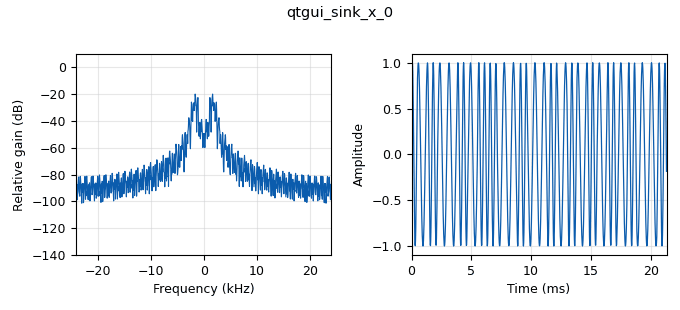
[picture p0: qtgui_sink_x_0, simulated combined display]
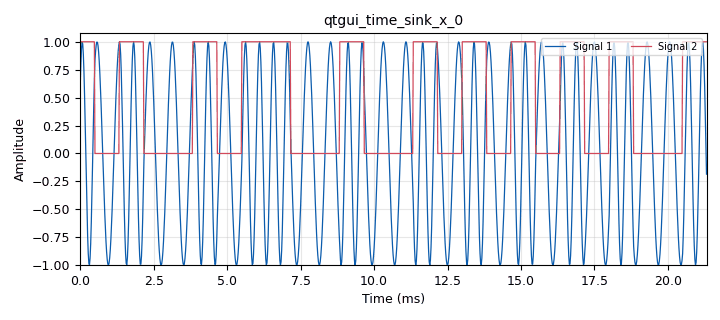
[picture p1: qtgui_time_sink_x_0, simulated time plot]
options:
  parameters:
    author: boat
    generate_options: qt_gui
    generator_class_name: PythonQtGuiGenerator
    generator_module: gnuradio.grc.workflows.python_qt_gui
    id: dsc
    output_language: python
    title: Not titled yet
  states: {}

blocks:
- name: samp_rate
  id: variable
  parameters:
    value: '48000'
  states: {}
- name: analog_const_source_x_0
  id: analog_const_source_x
  parameters:
    const: '1'
    type: float
  states: {state: disabled}
- name: analog_const_source_x_0_0
  id: analog_const_source_x
  parameters:
    const: '0'
    type: float
  states: {state: disabled}
- name: analog_random_source_x_0
  id: analog_random_source_x
  parameters:
    max: '2'
    min: '0'
    num_samps: '1000'
    repeat: 'True'
    type: byte
  states: {}
- name: analog_sig_source_x_0
  id: analog_sig_source_x
  parameters:
    amp: '1'
    freq: '1_200'
    offset: '0'
    phase: '0'
    samp_rate: samp_rate
    type: byte
    waveform: analog.GR_SQR_WAVE
  states: {}
- name: analog_sig_source_x_1
  id: analog_sig_source_x
  parameters:
    amp: '1'
    freq: '1_200'
    offset: '0'
    phase: '3.141592654'
    samp_rate: samp_rate
    type: byte
    waveform: analog.GR_SQR_WAVE
  states: {}
- name: blocks_add_const_vxx_0
  id: blocks_add_const_vxx
  parameters:
    const: '0.7647059'
    type: float
  states: {}
- name: blocks_char_to_float_0
  id: blocks_char_to_float
  parameters:
    scale: '1'
  states: {}
- name: blocks_multiply_const_vxx_0
  id: blocks_multiply_const_vxx
  parameters:
    const: '0.4705882'
    type: float
  states: {}
- name: blocks_sample_and_hold_xx_0
  id: blocks_sample_and_hold_xx
  parameters:
    type: float
  states: {}
- name: blocks_sample_and_hold_xx_1
  id: blocks_sample_and_hold_xx
  parameters:
    type: float
  states: {}
- name: blocks_throttle2_0
  id: blocks_throttle2
  parameters:
    samples_per_second: samp_rate
    type: float
  states: {}
- name: blocks_vco_f_0
  id: blocks_vco_f
  parameters:
    amplitude: '1'
    samp_rate: samp_rate
    sensitivity: '10_681.4'
  states: {}
- name: note_0
  id: note
  parameters:
    note: Fmark=2100 Hz
  states: {}
- name: note_1
  id: note
  parameters:
    note: ' Fc=1700 Hz'
  states: {}
- name: note_2
  id: note
  parameters:
    note: Fspace=1300 Hz
  states: {}
- name: qtgui_sink_x_0
  id: qtgui_sink_x
  parameters:
    bw: samp_rate
    fc: '0'
    fftsize: '1024'
    type: float
  states: {}
- name: qtgui_time_sink_x_0
  id: qtgui_time_sink_x
  parameters:
    nconnections: '2'
    size: '1024'
    srate: samp_rate
    type: float
  states: {}

connections:
- [analog_const_source_x_0, '0', blocks_multiply_const_vxx_0, '0']
- [analog_const_source_x_0_0, '0', blocks_multiply_const_vxx_0, '0']
- [analog_random_source_x_0, '0', blocks_char_to_float_0, '0']
- [analog_sig_source_x_0, '0', blocks_sample_and_hold_xx_0, '1']
- [analog_sig_source_x_1, '0', blocks_sample_and_hold_xx_1, '1']
- [blocks_add_const_vxx_0, '0', blocks_vco_f_0, '0']
- [blocks_char_to_float_0, '0', blocks_throttle2_0, '0']
- [blocks_multiply_const_vxx_0, '0', blocks_add_const_vxx_0, '0']
- [blocks_sample_and_hold_xx_0, '0', blocks_sample_and_hold_xx_1, '0']
- [blocks_sample_and_hold_xx_1, '0', blocks_multiply_const_vxx_0, '0']
- [blocks_sample_and_hold_xx_1, '0', qtgui_time_sink_x_0, '1']
- [blocks_throttle2_0, '0', blocks_sample_and_hold_xx_0, '0']
- [blocks_vco_f_0, '0', qtgui_sink_x_0, '0']
- [blocks_vco_f_0, '0', qtgui_time_sink_x_0, '0']

metadata:
  file_format: 1
  grc_version: 3.10.12.0
